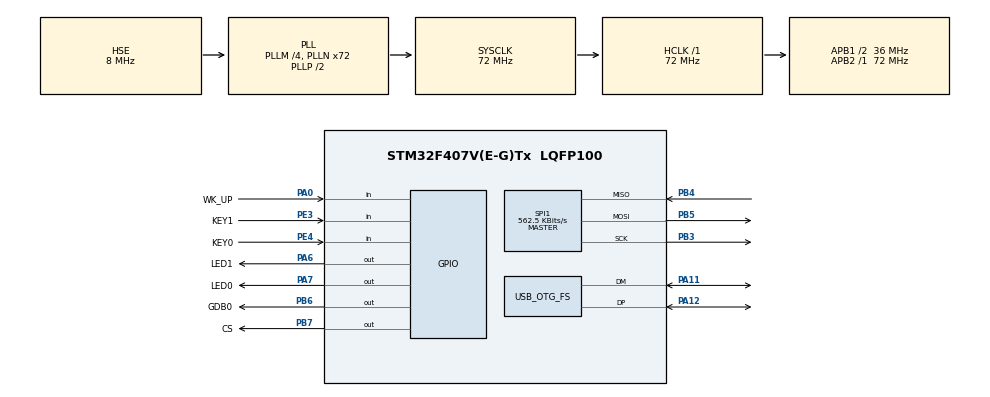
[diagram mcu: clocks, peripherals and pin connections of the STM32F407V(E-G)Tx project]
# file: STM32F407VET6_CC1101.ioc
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Mcu.Family=STM32F4
Mcu.Name=STM32F407V(E-G)Tx
Mcu.Package=LQFP100
NVIC.OTG_FS_IRQn=true\:0\:0\:false\:false\:true\:false\:true\:true
NVIC.PriorityGroup=NVIC_PRIORITYGROUP_4
PA0-WKUP.GPIO_Label=WK_UP
PA0-WKUP.Signal=GPIO_Input
PA11.Mode=Device_Only
PA11.Signal=USB_OTG_FS_DM
PA12.Mode=Device_Only
PA12.Signal=USB_OTG_FS_DP
PA6.GPIO_Label=LED1
PA6.GPIO_PuPd=GPIO_PULLUP
PA6.GPIO_Speed=GPIO_SPEED_FREQ_LOW
PA6.Signal=GPIO_Output
PA7.GPIO_Label=LED0
PA7.GPIO_Speed=GPIO_SPEED_FREQ_HIGH
PA7.Signal=GPIO_Output
PB3.Mode=Full_Duplex_Master
PB3.Signal=SPI1_SCK
PB4.GPIO_PuPd=GPIO_PULLDOWN
PB4.Mode=Full_Duplex_Master
PB4.Signal=SPI1_MISO
PB5.Mode=Full_Duplex_Master
PB5.Signal=SPI1_MOSI
PB6.GPIO_Label=GDB0
PB6.Signal=GPIO_Output
PB7.GPIO_Label=CS
PB7.GPIO_Speed=GPIO_SPEED_FREQ_HIGH
PB7.PinState=GPIO_PIN_SET
PB7.Signal=GPIO_Output
PC14-OSC32_IN.Mode=LSE-External-Oscillator
PC14-OSC32_IN.Signal=RCC_OSC32_IN
PC15-OSC32_OUT.Mode=LSE-External-Oscillator
PC15-OSC32_OUT.Signal=RCC_OSC32_OUT
PE3.GPIO_Label=KEY1
PE3.Signal=GPIO_Input
PE4.GPIO_Label=KEY0
PE4.Signal=GPIO_Input
PH0-OSC_IN.Mode=HSE-External-Oscillator
PH0-OSC_IN.Signal=RCC_OSC_IN
PH1-OSC_OUT.Mode=HSE-External-Oscillator
PH1-OSC_OUT.Signal=RCC_OSC_OUT
ProjectManager.HeapSize=0x200
ProjectManager.StackSize=0x400
ProjectManager.TargetToolchain=STM32CubeIDE
RCC.48MHZClocksFreq_Value=48000000
RCC.AHBFreq_Value=72000000
RCC.APB1CLKDivider=RCC_HCLK_DIV2
RCC.APB1Freq_Value=36000000
RCC.APB1TimFreq_Value=72000000
RCC.APB2Freq_Value=72000000
RCC.APB2TimFreq_Value=72000000
RCC.CortexFreq_Value=72000000
RCC.HCLKFreq_Value=72000000
RCC.HSE_VALUE=8000000
RCC.HSI_VALUE=16000000
RCC.PLLM=4
RCC.PLLN=72
RCC.PLLQ=3
RCC.SYSCLKFreq_VALUE=72000000
RCC.SYSCLKSource=RCC_SYSCLKSOURCE_PLLCLK
RCC.VCOOutputFreq_Value=144000000
SPI1.BaudRatePrescaler=SPI_BAUDRATEPRESCALER_128
SPI1.CLKPhase=SPI_PHASE_1EDGE
SPI1.CRCCalculation=SPI_CRCCALCULATION_DISABLE
SPI1.CalculateBaudRate=562.5 KBits/s
SPI1.Direction=SPI_DIRECTION_2LINES
SPI1.Mode=SPI_MODE_MASTER
SPI1.VirtualType=VM_MASTER
USB_DEVICE.CLASS_NAME_FS=CDC
USB_DEVICE.VirtualMode-CDC_FS=Cdc
USB_DEVICE.VirtualModeFS=Cdc_FS
USB_OTG_FS.VirtualMode=Device_Only
VP_USB_DEVICE_VS_USB_DEVICE_CDC_FS.Mode=CDC_FS
board=custom

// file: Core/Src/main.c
/* USER CODE BEGIN Header */
/**
 ******************************************************************************
 * @file           : main.c
 * @brief          : Main program body
 ******************************************************************************
 * @attention
 *
 * Copyright (c) 2025 STMicroelectronics.
 * All rights reserved.
 *
 * This software is licensed under terms that can be found in the LICENSE file
 * in the root directory of this software component.
 * If no LICENSE file comes with this software, it is provided AS-IS.
 *
 ******************************************************************************
 */
/* USER CODE END Header */
#include "main.h"
#include "usb_device.h"

/* USER CODE BEGIN Includes */
#include "cc1101.h"
#include "usb_device.h"
#include "usbd_cdc_if.h"
/* USER CODE END Includes */

/* USER CODE BEGIN PTD */
#define state 	0
/* USER CODE END PTD */

SPI_HandleTypeDef hspi1;

/* USER CODE BEGIN PV */
volatile uint8_t GDO0_FLAG;
/* USER CODE END PV */

void SystemClock_Config(void);
static void MX_GPIO_Init(void);
static void MX_SPI1_Init(void);

/* USER CODE BEGIN 0 */
void UserLEDHide() {
	HAL_GPIO_WritePin(LED0_GPIO_Port, LED0_Pin, GPIO_PIN_SET);
}

void UserLEDShow() {
	HAL_GPIO_WritePin(LED0_GPIO_Port, LED0_Pin, GPIO_PIN_RESET);
}

#define CC1101_CS_PIN      CS_Pin
#define CC1101_CS_PORT     CS_GPIO_Port
#define CC1101_GDO0_PIN    GDO0_PIN
#define CC1101_GDO0_PORT   GDO0_GPIO_Port

void Test_CC1101_Connection(void) {
	printf("Starting CC1101 Test...\r\n");

	uint8_t partNum = TI_read_status(CCxxx0_PARTNUM);
	uint8_t version = TI_read_status(CCxxx0_VERSION);
	uint8_t marcstate = TI_read_status(CCxxx0_MARCSTATE) & 0x1F;
	printf("MARCSTATE: 0x%02X\r\n", marcstate);
	if (partNum == 0x00 && version == 0x14) {
		printf("CC1101 OK! PARTNUM=0x%02X, VERSION=0x%02X\r\n", partNum,
				version);
	} else {
		printf(
				"CC1101 ERROR! PARTNUM=0x%02X (expected 0x04), VERSION=0x%02X (expected 0x14)\r\n",
				partNum, version);
	}
}

void CC1101_Reset(void) {
    // Deassert CS (high)
    HAL_GPIO_WritePin(CS_GPIO_Port, CS_Pin, GPIO_PIN_SET);
    HAL_Delay(1);

    // Assert CS (low)
    HAL_GPIO_WritePin(CS_GPIO_Port, CS_Pin, GPIO_PIN_RESET);
    HAL_Delay(1);

    // Deassert again briefly
    HAL_GPIO_WritePin(CS_GPIO_Port, CS_Pin, GPIO_PIN_SET);
    HAL_Delay(1);

    // Assert CS again to start SRES
    HAL_GPIO_WritePin(CS_GPIO_Port, CS_Pin, GPIO_PIN_RESET);

    // Wait for SO (MISO) to go low = CC1101 ready
    while (HAL_GPIO_ReadPin(GPIOB, GPIO_PIN_6)); // GDB0_Pin (MISO)

    // Send SRES (Reset)
    uint8_t cmd = 0x30;
    HAL_SPI_Transmit(&hspi1, &cmd, 1, HAL_MAX_DELAY);

    // Wait again for SO to go low = reset done
    while (HAL_GPIO_ReadPin(GPIOB, GPIO_PIN_6)); // GDB0_Pin (MISO)

    // Deassert CS
    HAL_GPIO_WritePin(CS_GPIO_Port, CS_Pin, GPIO_PIN_SET);
    HAL_Delay(1);
}

void CC1101_DumpRegisters(char *buf, size_t bufsize) {
	uint8_t regVal;
	size_t idx = 0;

	for (uint8_t addr = 0x00; addr <= 0x2F; addr++) {
		regVal = TI_read_reg(addr);
		idx += snprintf(buf + idx, bufsize - idx, "[0x%02X]=0x%02X,", addr,
				regVal);
		if (idx >= bufsize - 1)
			break; // Prevent buffer overflow
	}

	// Append PARTNUM and VERSION explicitly
	regVal = TI_read_status(CCxxx0_PARTNUM); // PARTNUM
	idx += snprintf(buf + idx, bufsize - idx, "PARTNUM = 0x%02X\r\n", regVal);

	regVal = TI_read_status(CCxxx0_VERSION); // VERSION
	idx += snprintf(buf + idx, bufsize - idx, "VERSION = 0x%02X\r\n", regVal);
}

/* USER CODE END 0 */

int main(void)
{

  /* MCU Configuration--------------------------------------------------------*/

  /* Reset of all peripherals, Initializes the Flash interface and the Systick. */
  HAL_Init();

  /* Configure the system clock */
  SystemClock_Config();

  /* Initialize all configured peripherals */
  MX_GPIO_Init();
  MX_SPI1_Init();
  MX_USB_DEVICE_Init();
  /* USER CODE BEGIN 2 */
	setvbuf(stdout, NULL, _IONBF, 0);  // Disable printf buffer
  /* USER CODE END 2 */

  /* Infinite loop */
  /* USER CODE BEGIN WHILE */

//	char packet[] = "RF Test";
//	 BYTE status;
//	status = TI_read_status(CCxxx0_VERSION); // it is for checking only //sadece kontrol için
//	//it must be 0x14 //0x14 değeri vermelidir
//
//	status = TI_read_status(CCxxx0_TXBYTES); // it is too // bu da kontrol için
//
//	TI_strobe(CCxxx0_SFTX); // flush the buffer //bufferi temizler
//
//	UserLEDShow(); // turn on the led before send the data // veri göndermeden önce ledi yakar
//
//	TI_send_packet(packet, sizeof(packet)); //the function is sending the data
//	BYTE status;
//	Power_up_reset();
	TI_init(&hspi1, CS_GPIO_Port, CS_Pin);
//
//	//for transiver
//	BYTE veri = 7;
//	char packet[] = "RF Test";
	char cc1101_dump[1024];
	CC1101_Reset();
	CC1101_DumpRegisters(cc1101_dump, sizeof(cc1101_dump));
	BYTE status = TI_read_status(CCxxx0_VERSION); // it is for checking only //sadece kontrol için
//	Test_CC1101_Connection();
//	TI_init(&hspi1, CS_GPIO_Port, CS_Pin);
//
//	  //for transiver
//	  BYTE veri = 7;
//	  char packet[] = "RF Test";
//
//	  while (1)
//	  {
//		  status = TI_read_status(CCxxx0_VERSION); // it is for checking only //sadece kontrol için
//		  //it must be 0x14 //0x14 değeri vermelidir
//
//		  status = TI_read_status(CCxxx0_TXBYTES); // it is too // bu da kontrol için
//
//		  TI_strobe(CCxxx0_SFTX); // flush the buffer //bufferi temizler
//
//		  UserLEDShow(); // turn on the led before send the data // veri göndermeden önce ledi yakar
//
//		  TI_send_packet(packet, sizeof(packet)); //the function is sending the data
//
//		  while(HAL_GPIO_ReadPin(GDO0_GPIO_Port, GDO0_Pin));
//		  while(!HAL_GPIO_ReadPin(GDO0_GPIO_Port, GDO0_Pin));
//		  //if the pass to this function, the data was sent. // veri gönderme işlemi tamamlanması için bekletir
//
//		  status = TI_read_status(CCxxx0_TXBYTES); // it is checking to send the data //veri gönderildiğini kontrol etmek için
//
//		  UserLEDHide(); // turn off the led // veri gönderildiğinde led söner
//		  HAL_Delay(100);
//	  }
	while (1) {
		//	printf("WHILE LOOP\n");
		GPIO_PinState key0 = HAL_GPIO_ReadPin(KEY0_GPIO_Port, KEY0_Pin);
		GPIO_PinState wk_up = HAL_GPIO_ReadPin(WK_UP_GPIO_Port, WK_UP_Pin);

		if (wk_up == GPIO_PIN_SET) {
			char cc1101_dump[1024];
//			CC1101_Reset();
			CC1101_DumpRegisters(cc1101_dump, sizeof(cc1101_dump));

			BYTE status1 = TI_read_status(CCxxx0_VERSION);
			printf("%s", cc1101_dump);
			printf("0x%02X", status1);

			HAL_Delay(1000);
		}

		HAL_GPIO_TogglePin(LED0_GPIO_Port, LED0_Pin);
		HAL_Delay(100);
    /* USER CODE END WHILE */

	}
}

void SystemClock_Config(void)
{
  RCC_OscInitTypeDef RCC_OscInitStruct = {0};
  RCC_ClkInitTypeDef RCC_ClkInitStruct = {0};

  /** Configure the main internal regulator output voltage
  */
  __HAL_RCC_PWR_CLK_ENABLE();
  __HAL_PWR_VOLTAGESCALING_CONFIG(PWR_REGULATOR_VOLTAGE_SCALE1);

  /** Initializes the RCC Oscillators according to the specified parameters
  * in the RCC_OscInitTypeDef structure.
  */
  RCC_OscInitStruct.OscillatorType = RCC_OSCILLATORTYPE_HSE;
  RCC_OscInitStruct.HSEState = RCC_HSE_ON;
  RCC_OscInitStruct.PLL.PLLState = RCC_PLL_ON;
  RCC_OscInitStruct.PLL.PLLSource = RCC_PLLSOURCE_HSE;
  RCC_OscInitStruct.PLL.PLLM = 4;
  RCC_OscInitStruct.PLL.PLLN = 72;
  RCC_OscInitStruct.PLL.PLLP = RCC_PLLP_DIV2;
  RCC_OscInitStruct.PLL.PLLQ = 3;
  if (HAL_RCC_OscConfig(&RCC_OscInitStruct) != HAL_OK)
  {
    Error_Handler();
  }

  /** Initializes the CPU, AHB and APB buses clocks
  */
  RCC_ClkInitStruct.ClockType = RCC_CLOCKTYPE_HCLK|RCC_CLOCKTYPE_SYSCLK
                              |RCC_CLOCKTYPE_PCLK1|RCC_CLOCKTYPE_PCLK2;
  RCC_ClkInitStruct.SYSCLKSource = RCC_SYSCLKSOURCE_PLLCLK;
  RCC_ClkInitStruct.AHBCLKDivider = RCC_SYSCLK_DIV1;
  RCC_ClkInitStruct.APB1CLKDivider = RCC_HCLK_DIV2;
  RCC_ClkInitStruct.APB2CLKDivider = RCC_HCLK_DIV1;

  if (HAL_RCC_ClockConfig(&RCC_ClkInitStruct, FLASH_LATENCY_2) != HAL_OK)
  {
    Error_Handler();
  }
}

static void MX_SPI1_Init(void)
{

  /* SPI1 parameter configuration*/
  hspi1.Instance = SPI1;
  hspi1.Init.Mode = SPI_MODE_MASTER;
  hspi1.Init.Direction = SPI_DIRECTION_2LINES;
  hspi1.Init.DataSize = SPI_DATASIZE_8BIT;
  hspi1.Init.CLKPolarity = SPI_POLARITY_LOW;
  hspi1.Init.CLKPhase = SPI_PHASE_1EDGE;
  hspi1.Init.NSS = SPI_NSS_SOFT;
  hspi1.Init.BaudRatePrescaler = SPI_BAUDRATEPRESCALER_128;
  hspi1.Init.FirstBit = SPI_FIRSTBIT_MSB;
  hspi1.Init.TIMode = SPI_TIMODE_DISABLE;
  hspi1.Init.CRCCalculation = SPI_CRCCALCULATION_DISABLE;
  hspi1.Init.CRCPolynomial = 10;
  if (HAL_SPI_Init(&hspi1) != HAL_OK)
  {
    Error_Handler();
  }

}

static void MX_GPIO_Init(void)
{
  GPIO_InitTypeDef GPIO_InitStruct = {0};
  /* USER CODE BEGIN MX_GPIO_Init_1 */
	// Configure SPI pins as Alternate Function (PB3-PB5)
	GPIO_InitTypeDef GPIO_InitSPI = { 0 };
	GPIO_InitSPI.Pin = GPIO_PIN_3 | GPIO_PIN_4 | GPIO_PIN_5;
	GPIO_InitSPI.Mode = GPIO_MODE_AF_PP;
	GPIO_InitSPI.Pull = GPIO_NOPULL;
	GPIO_InitSPI.Speed = GPIO_SPEED_FREQ_HIGH;
	GPIO_InitSPI.Alternate = GPIO_AF5_SPI1;
	HAL_GPIO_Init(GPIOB, &GPIO_InitSPI);
  /* USER CODE END MX_GPIO_Init_1 */

  /* GPIO Ports Clock Enable */
  __HAL_RCC_GPIOE_CLK_ENABLE();
  __HAL_RCC_GPIOC_CLK_ENABLE();
  __HAL_RCC_GPIOH_CLK_ENABLE();
  __HAL_RCC_GPIOA_CLK_ENABLE();
  __HAL_RCC_GPIOB_CLK_ENABLE();

  /*Configure GPIO pin Output Level */
  HAL_GPIO_WritePin(GPIOA, LED1_Pin|LED0_Pin, GPIO_PIN_RESET);

  /*Configure GPIO pin Output Level */
  HAL_GPIO_WritePin(GDB0_GPIO_Port, GDB0_Pin, GPIO_PIN_RESET);

  /*Configure GPIO pin Output Level */
  HAL_GPIO_WritePin(CS_GPIO_Port, CS_Pin, GPIO_PIN_SET);

  /*Configure GPIO pins : KEY1_Pin KEY0_Pin */
  GPIO_InitStruct.Pin = KEY1_Pin|KEY0_Pin;
  GPIO_InitStruct.Mode = GPIO_MODE_INPUT;
  GPIO_InitStruct.Pull = GPIO_NOPULL;
  HAL_GPIO_Init(GPIOE, &GPIO_InitStruct);

  /*Configure GPIO pin : WK_UP_Pin */
  GPIO_InitStruct.Pin = WK_UP_Pin;
  GPIO_InitStruct.Mode = GPIO_MODE_INPUT;
  GPIO_InitStruct.Pull = GPIO_NOPULL;
  HAL_GPIO_Init(WK_UP_GPIO_Port, &GPIO_InitStruct);

  /*Configure GPIO pin : LED1_Pin */
  GPIO_InitStruct.Pin = LED1_Pin;
  GPIO_InitStruct.Mode = GPIO_MODE_OUTPUT_PP;
  GPIO_InitStruct.Pull = GPIO_PULLUP;
  GPIO_InitStruct.Speed = GPIO_SPEED_FREQ_LOW;
  HAL_GPIO_Init(LED1_GPIO_Port, &GPIO_InitStruct);

  /*Configure GPIO pin : LED0_Pin */
  GPIO_InitStruct.Pin = LED0_Pin;
  GPIO_InitStruct.Mode = GPIO_MODE_OUTPUT_PP;
  GPIO_InitStruct.Pull = GPIO_NOPULL;
  GPIO_InitStruct.Speed = GPIO_SPEED_FREQ_HIGH;
  HAL_GPIO_Init(LED0_GPIO_Port, &GPIO_InitStruct);

  /*Configure GPIO pin : GDB0_Pin */
  GPIO_InitStruct.Pin = GDB0_Pin;
  GPIO_InitStruct.Mode = GPIO_MODE_OUTPUT_PP;
  GPIO_InitStruct.Pull = GPIO_NOPULL;
  GPIO_InitStruct.Speed = GPIO_SPEED_FREQ_LOW;
  HAL_GPIO_Init(GDB0_GPIO_Port, &GPIO_InitStruct);

  /*Configure GPIO pin : CS_Pin */
  GPIO_InitStruct.Pin = CS_Pin;
  GPIO_InitStruct.Mode = GPIO_MODE_OUTPUT_PP;
  GPIO_InitStruct.Pull = GPIO_NOPULL;
  GPIO_InitStruct.Speed = GPIO_SPEED_FREQ_HIGH;
  HAL_GPIO_Init(CS_GPIO_Port, &GPIO_InitStruct);

  /* USER CODE BEGIN MX_GPIO_Init_2 */
	// Optional: Verify SPI pins
	if (HAL_GPIO_ReadPin(GPIOB, GPIO_PIN_4) == GPIO_PIN_SET) {
		// MISO is floating - consider adding pull-down
		HAL_GPIO_WritePin(LED0_GPIO_Port, LED0_Pin, GPIO_PIN_SET);
	}
  /* USER CODE END MX_GPIO_Init_2 */
}

/* USER CODE BEGIN 4 */
/* Send a char through ITM */
int _write(int file, char *data, int len) {
	// Wait until previous transmission is complete
	while (CDC_Transmit_FS((uint8_t*) data, len) == USBD_BUSY) {
		// Optionally add timeout here
	}
	return len;
}
int _write_debug(int file, char *ptr, int len) {
	int DataIdx;
	for (DataIdx = 0; DataIdx < len; DataIdx++) {
		ITM_SendChar(*ptr++);
	}
	return len;
}
/* USER CODE END 4 */

void Error_Handler(void)
{
	__disable_irq();
	while (1) {
	}
}
